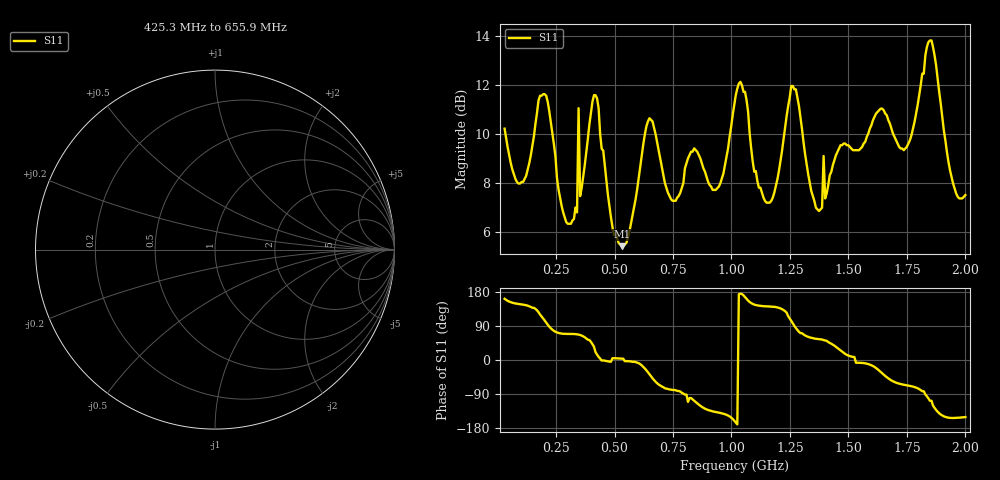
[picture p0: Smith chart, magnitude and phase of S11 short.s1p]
# Hz S DB R 50.000000
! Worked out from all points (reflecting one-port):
!   300 points, 30 MHz to 2 GHz, reference 50 ohm
!   lowest |S11| = 5.4 dB at 530.7 MHz (marker M1)
!   phase of S11 starts at 162 deg and turns -672 deg over the sweep
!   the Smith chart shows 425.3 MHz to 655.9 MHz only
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3e7  10.21 161.5
1.683612e8  10.85 131.3
2.07893e8  11.55 98.7
2.803679e8  6.80 69.1
3.396656e8  6.80 67.7
3.462542e8  11.04 67.0
3.528428e8  7.46 66.0
4.055518e8  11.31 41.9
4.253177e8  11.44 14.1
5.241472e8  5.49 3.9
5.307358e8  5.42 3.5
6.361538e8  10.30 -27.1
6.756856e8  9.97 -57.5
7.745151e8  7.47 -82.0
1.018294e9  11.57 -165.0
1.071003e9  10.90 156.8
1.196187e9  8.14 138.8
1.235719e9  10.72 125.1
1.262074e9  11.95 96.8
1.295017e9  10.66 70.9
1.512441e9  9.40 9.1
1.61786e9  10.82 -21.1
1.756221e9  9.60 -67.6
1.822107e9  12.45 -82.5
1.841873e9  13.74 -101.3
1.881405e9  12.25 -136.5
1.927525e9  8.86 -152.2
2e9  7.50 -150.6
